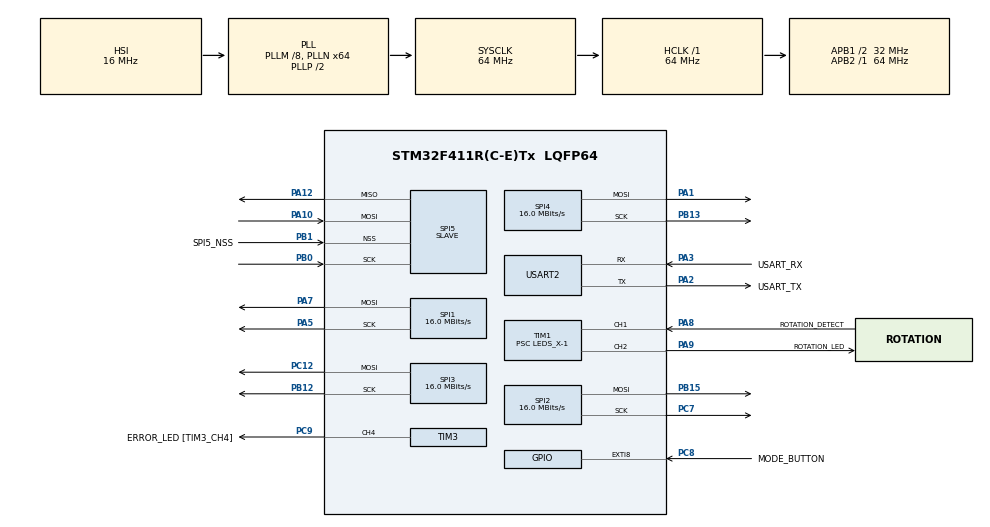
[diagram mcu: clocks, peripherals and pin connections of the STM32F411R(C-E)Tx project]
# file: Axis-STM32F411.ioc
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Dma.Request0=SPI1_TX
Dma.Request1=SPI2_TX
Dma.Request2=SPI3_TX
Dma.Request3=SPI4_TX
Dma.Request4=SPI5_TX
Dma.Request5=SPI5_RX
Dma.Request6=TIM3_CH4/UP
Dma.SPI1_TX.0.Direction=DMA_MEMORY_TO_PERIPH
Dma.SPI1_TX.0.FIFOMode=DMA_FIFOMODE_ENABLE
Dma.SPI1_TX.0.FIFOThreshold=DMA_FIFO_THRESHOLD_FULL
Dma.SPI1_TX.0.Instance=DMA2_Stream2
Dma.SPI1_TX.0.MemBurst=DMA_MBURST_SINGLE
Dma.SPI1_TX.0.MemDataAlignment=DMA_MDATAALIGN_WORD
Dma.SPI1_TX.0.MemInc=DMA_MINC_ENABLE
Dma.SPI1_TX.0.Mode=DMA_NORMAL
Dma.SPI1_TX.0.PeriphBurst=DMA_PBURST_SINGLE
Dma.SPI1_TX.0.PeriphDataAlignment=DMA_PDATAALIGN_BYTE
Dma.SPI1_TX.0.PeriphInc=DMA_PINC_DISABLE
Dma.SPI1_TX.0.Priority=DMA_PRIORITY_VERY_HIGH
Dma.SPI2_TX.1.Direction=DMA_MEMORY_TO_PERIPH
Dma.SPI2_TX.1.FIFOMode=DMA_FIFOMODE_ENABLE
Dma.SPI2_TX.1.FIFOThreshold=DMA_FIFO_THRESHOLD_FULL
Dma.SPI2_TX.1.Instance=DMA1_Stream4
Dma.SPI2_TX.1.MemBurst=DMA_MBURST_SINGLE
Dma.SPI2_TX.1.MemDataAlignment=DMA_MDATAALIGN_WORD
Dma.SPI2_TX.1.MemInc=DMA_MINC_ENABLE
Dma.SPI2_TX.1.Mode=DMA_NORMAL
Dma.SPI2_TX.1.PeriphBurst=DMA_PBURST_SINGLE
Dma.SPI2_TX.1.PeriphDataAlignment=DMA_PDATAALIGN_BYTE
Dma.SPI2_TX.1.PeriphInc=DMA_PINC_DISABLE
Dma.SPI2_TX.1.Priority=DMA_PRIORITY_VERY_HIGH
Dma.SPI3_TX.2.Direction=DMA_MEMORY_TO_PERIPH
Dma.SPI3_TX.2.FIFOMode=DMA_FIFOMODE_ENABLE
Dma.SPI3_TX.2.FIFOThreshold=DMA_FIFO_THRESHOLD_FULL
Dma.SPI3_TX.2.Instance=DMA1_Stream5
Dma.SPI3_TX.2.MemBurst=DMA_MBURST_SINGLE
Dma.SPI3_TX.2.MemDataAlignment=DMA_MDATAALIGN_WORD
Dma.SPI3_TX.2.MemInc=DMA_MINC_ENABLE
Dma.SPI3_TX.2.Mode=DMA_NORMAL
Dma.SPI3_TX.2.PeriphBurst=DMA_PBURST_SINGLE
Dma.SPI3_TX.2.PeriphDataAlignment=DMA_PDATAALIGN_BYTE
Dma.SPI3_TX.2.PeriphInc=DMA_PINC_DISABLE
Dma.SPI3_TX.2.Priority=DMA_PRIORITY_VERY_HIGH
Dma.SPI4_TX.3.Direction=DMA_MEMORY_TO_PERIPH
Dma.SPI4_TX.3.FIFOMode=DMA_FIFOMODE_ENABLE
Dma.SPI4_TX.3.FIFOThreshold=DMA_FIFO_THRESHOLD_FULL
Dma.SPI4_TX.3.Instance=DMA2_Stream1
Dma.SPI4_TX.3.MemBurst=DMA_MBURST_SINGLE
Dma.SPI4_TX.3.MemDataAlignment=DMA_MDATAALIGN_WORD
Dma.SPI4_TX.3.MemInc=DMA_MINC_ENABLE
Dma.SPI4_TX.3.Mode=DMA_NORMAL
Dma.SPI4_TX.3.PeriphBurst=DMA_PBURST_SINGLE
Dma.SPI4_TX.3.PeriphDataAlignment=DMA_PDATAALIGN_BYTE
Dma.SPI4_TX.3.PeriphInc=DMA_PINC_DISABLE
Dma.SPI4_TX.3.Priority=DMA_PRIORITY_VERY_HIGH
Dma.SPI5_RX.5.Direction=DMA_PERIPH_TO_MEMORY
Dma.SPI5_RX.5.FIFOMode=DMA_FIFOMODE_DISABLE
Dma.SPI5_RX.5.Instance=DMA2_Stream3
Dma.SPI5_RX.5.MemDataAlignment=DMA_MDATAALIGN_BYTE
Dma.SPI5_RX.5.MemInc=DMA_MINC_ENABLE
Dma.SPI5_RX.5.Mode=DMA_NORMAL
Dma.SPI5_RX.5.PeriphDataAlignment=DMA_PDATAALIGN_BYTE
Dma.SPI5_RX.5.PeriphInc=DMA_PINC_DISABLE
Dma.SPI5_RX.5.Priority=DMA_PRIORITY_MEDIUM
Dma.SPI5_TX.4.Direction=DMA_MEMORY_TO_PERIPH
Dma.SPI5_TX.4.FIFOMode=DMA_FIFOMODE_DISABLE
Dma.SPI5_TX.4.Instance=DMA2_Stream4
Dma.SPI5_TX.4.MemDataAlignment=DMA_MDATAALIGN_BYTE
Dma.SPI5_TX.4.MemInc=DMA_MINC_ENABLE
Dma.SPI5_TX.4.Mode=DMA_NORMAL
Dma.SPI5_TX.4.PeriphDataAlignment=DMA_PDATAALIGN_BYTE
Dma.SPI5_TX.4.PeriphInc=DMA_PINC_DISABLE
Dma.SPI5_TX.4.Priority=DMA_PRIORITY_MEDIUM
Dma.TIM3_CH4/UP.6.Direction=DMA_MEMORY_TO_PERIPH
Dma.TIM3_CH4/UP.6.FIFOMode=DMA_FIFOMODE_DISABLE
Dma.TIM3_CH4/UP.6.Instance=DMA1_Stream2
Dma.TIM3_CH4/UP.6.MemDataAlignment=DMA_MDATAALIGN_HALFWORD
Dma.TIM3_CH4/UP.6.MemInc=DMA_MINC_ENABLE
Dma.TIM3_CH4/UP.6.Mode=DMA_CIRCULAR
Dma.TIM3_CH4/UP.6.PeriphDataAlignment=DMA_PDATAALIGN_HALFWORD
Dma.TIM3_CH4/UP.6.PeriphInc=DMA_PINC_DISABLE
Dma.TIM3_CH4/UP.6.Priority=DMA_PRIORITY_LOW
Mcu.Family=STM32F4
Mcu.Name=STM32F411R(C-E)Tx
Mcu.Package=LQFP64
Mcu.UserConstants=hLEDS1_TXDMA_STREAM,LL_DMA_STREAM_1;hLEDS4,$$_SPI3_IP_HANDLE_$$;hLEDS3_TXDMA_STREAM,LL_DMA_STREAM_4;hLEDS3,$$_SPI2_IP_HANDLE_$$;hLEDS4_TXDMA_STREAM,LL_DMA_STREAM_5;hLEDS2,$$_SPI1_IP_HANDLE_$$;hLEDS1,$$_SPI4_IP_HANDLE_$$;TIM_ERROR_CHANNEL_LED,TIM_CHANNEL_4;hLEDS4_TXDMA,DMA1;hLEDS2_TXDMA_STREAM,LL_DMA_STREAM_2;hLEDS2_TXDMA,DMA2;TIM_ROTATION_CHANNEL_LED,TIM_CHANNEL_2;hTIM_PIXEL,$$_TIM2_IP_HANDLE_$$;hLEDS3_TXDMA,DMA1;hTIM_ERROR,$$_TIM3_IP_HANDLE_$$;TIM_ROTATION_CHANNEL_DETECT,TIM_CHANNEL_1;hLEDS1_TXDMA,DMA2;hTIM_ROTATION,$$_TIM1_IP_HANDLE_$$;ROTATION_LED_PULSE_MS,5;LEDS_X,400;LEDS_Y,57;SPI5_TXDMA,DMA2;SPI5_RXDMA,DMA2;SPI5_RXDMA_STREAM,LL_DMA_STREAM_3;SPI5_TXDMA_STREAM,LL_DMA_STREAM_4
NVIC.DMA1_Stream2_IRQn=true\:3\:0\:true\:false\:true\:true\:true\:true
NVIC.DMA2_Stream3_IRQn=true\:2\:0\:true\:false\:true\:false\:true\:true
NVIC.DMA2_Stream4_IRQn=true\:2\:0\:true\:false\:true\:false\:true\:true
NVIC.PriorityGroup=NVIC_PRIORITYGROUP_2
NVIC.TIM1_UP_TIM10_IRQn=true\:0\:0\:false\:false\:true\:true\:false\:true
NVIC.TIM2_IRQn=true\:0\:1\:false\:false\:true\:true\:false\:true
PA1.GPIO_Speed=GPIO_SPEED_FREQ_HIGH
PA1.Mode=TX_Only_Simplex_Unidirect_Master
PA1.Signal=SPI4_MOSI
PA10.GPIO_Speed=GPIO_SPEED_FREQ_HIGH
PA10.Mode=Full_Duplex_Slave
PA10.Signal=SPI5_MOSI
PA12.GPIO_Speed=GPIO_SPEED_FREQ_HIGH
PA12.Mode=Full_Duplex_Slave
PA12.Signal=SPI5_MISO
PA13.GPIO_Label=TMS
PA13.Mode=Trace_Asynchronous_SW
PA13.Signal=SYS_JTMS-SWDIO
PA14.GPIO_Label=TCK
PA14.Mode=Trace_Asynchronous_SW
PA14.Signal=SYS_JTCK-SWCLK
PA2.GPIO_Label=USART_TX
PA2.GPIO_Speed=GPIO_SPEED_FREQ_LOW
PA2.Mode=Asynchronous
PA2.Signal=USART2_TX
PA3.GPIO_Label=USART_RX
PA3.GPIO_Speed=GPIO_SPEED_FREQ_LOW
PA3.Mode=Asynchronous
PA3.Signal=USART2_RX
PA5.GPIO_Speed=GPIO_SPEED_FREQ_HIGH
PA5.Mode=TX_Only_Simplex_Unidirect_Master
PA5.Signal=SPI1_SCK
PA7.GPIO_Speed=GPIO_SPEED_FREQ_HIGH
PA7.Mode=TX_Only_Simplex_Unidirect_Master
PA7.Signal=SPI1_MOSI
PA8.GPIO_Label=ROTATION_DETECT
PA8.Signal=S_TIM1_CH1
PA9.GPIO_Label=ROTATION_LED
PA9.GPIO_ModeDefaultPP=GPIO_MODE_AF_OD
PA9.Signal=S_TIM1_CH2
PB0.GPIO_Speed=GPIO_SPEED_FREQ_HIGH
PB0.Mode=Full_Duplex_Slave
PB0.Signal=SPI5_SCK
PB1.GPIO_Label=SPI5_NSS
PB1.GPIO_PuPd=GPIO_PULLUP
PB1.GPIO_Speed=GPIO_SPEED_FREQ_HIGH
PB1.Signal=SharedStack_PB1
PB1.Stacked=true
PB12.GPIO_Speed=GPIO_SPEED_FREQ_HIGH
PB12.Mode=TX_Only_Simplex_Unidirect_Master
PB12.Signal=SPI3_SCK
PB13.GPIO_Speed=GPIO_SPEED_FREQ_HIGH
PB13.Mode=TX_Only_Simplex_Unidirect_Master
PB13.Signal=SPI4_SCK
PB15.GPIO_Speed=GPIO_SPEED_FREQ_HIGH
PB15.Mode=TX_Only_Simplex_Unidirect_Master
PB15.Signal=SPI2_MOSI
PB3.GPIO_Label=SWO
PB3.Mode=Trace_Asynchronous_SW
PB3.Signal=SYS_JTDO-SWO
PC12.GPIO_Speed=GPIO_SPEED_FREQ_HIGH
PC12.Mode=TX_Only_Simplex_Unidirect_Master
PC12.Signal=SPI3_MOSI
PC7.GPIO_Speed=GPIO_SPEED_FREQ_HIGH
PC7.Mode=TX_Only_Simplex_Unidirect_Master
PC7.Signal=SPI2_SCK
PC8.GPIO_Label=MODE_BUTTON
PC8.GPIO_ModeDefaultEXTI=GPIO_MODE_IT_FALLING
PC8.Signal=GPXTI8
PC9.GPIO_Label=ERROR_LED [TIM3_CH4]
PC9.GPIO_ModeDefaultPP=GPIO_MODE_AF_OD
PC9.Signal=S_TIM3_CH4
PH0\ -\ OSC_IN.Signal=RCC_OSC_IN
PH1\ -\ OSC_OUT.Signal=RCC_OSC_OUT
ProjectManager.HeapSize=0x200
ProjectManager.StackSize=0x400
ProjectManager.TargetToolchain=STM32CubeIDE
RCC.48MHZClocksFreq_Value=32000000
RCC.AHBFreq_Value=64000000
RCC.APB1CLKDivider=RCC_HCLK_DIV2
RCC.APB1Freq_Value=32000000
RCC.APB1TimFreq_Value=64000000
RCC.APB2Freq_Value=64000000
RCC.APB2TimFreq_Value=64000000
RCC.CortexFreq_Value=64000000
RCC.FLatency-AdvancedSettings=FLASH_LATENCY_2
RCC.HCLKFreq_Value=64000000
RCC.HSE_VALUE=8000000
RCC.HSI_VALUE=16000000
RCC.LSE_VALUE=32768
RCC.PLLM=8
RCC.PLLN=64
RCC.SYSCLKFreq_VALUE=64000000
RCC.SYSCLKSource=RCC_SYSCLKSOURCE_PLLCLK
RCC.VCOOutputFreq_Value=128000000
SH.S_TIM1_CH1.0=TIM1_CH1,TriggerSource_TI1FP1
SH.S_TIM1_CH1.1=TIM1_CH1,Input_Capture1_from_TI1
SH.S_TIM1_CH2.0=TIM1_CH2,PWM Generation2 CH2
SH.S_TIM3_CH4.0=TIM3_CH4,PWM Generation4 CH4
SH.SharedStack_PB1.0=SPI5_NSS,NSS_Signal_Hard_Input
SH.SharedStack_PB1.1=GPIO_EXTI1+0
SPI1.BaudRatePrescaler=SPI_BAUDRATEPRESCALER_4
SPI1.CLKPhase=SPI_PHASE_2EDGE
SPI1.CLKPolarity=SPI_POLARITY_HIGH
SPI1.CalculateBaudRate=16.0 MBits/s
SPI1.DataSize=SPI_DATASIZE_8BIT
SPI1.Direction=SPI_DIRECTION_2LINES
SPI1.Mode=SPI_MODE_MASTER
SPI1.VirtualType=VM_MASTER
SPI2.BaudRatePrescaler=SPI_BAUDRATEPRESCALER_2
SPI2.CLKPhase=SPI_PHASE_2EDGE
SPI2.CLKPolarity=SPI_POLARITY_HIGH
SPI2.CalculateBaudRate=16.0 MBits/s
SPI2.Direction=SPI_DIRECTION_2LINES
SPI2.Mode=SPI_MODE_MASTER
SPI2.VirtualType=VM_MASTER
SPI3.BaudRatePrescaler=SPI_BAUDRATEPRESCALER_2
SPI3.CLKPhase=SPI_PHASE_2EDGE
SPI3.CLKPolarity=SPI_POLARITY_HIGH
SPI3.CalculateBaudRate=16.0 MBits/s
SPI3.Direction=SPI_DIRECTION_2LINES
SPI3.Mode=SPI_MODE_MASTER
SPI3.VirtualType=VM_MASTER
SPI4.BaudRatePrescaler=SPI_BAUDRATEPRESCALER_4
SPI4.CLKPhase=SPI_PHASE_2EDGE
SPI4.CLKPolarity=SPI_POLARITY_HIGH
SPI4.CalculateBaudRate=16.0 MBits/s
SPI4.DataSize=SPI_DATASIZE_8BIT
SPI4.Direction=SPI_DIRECTION_2LINES
SPI4.Mode=SPI_MODE_MASTER
SPI4.VirtualType=VM_MASTER
SPI5.Direction=SPI_DIRECTION_2LINES
SPI5.Mode=SPI_MODE_SLAVE
SPI5.VirtualNSS=VM_NSSHARD
SPI5.VirtualType=VM_SLAVE
TIM1.Channel-Input_Capture1_from_TI1=TIM_CHANNEL_1
TIM1.Channel-PWM\ Generation2\ CH2=TIM_CHANNEL_2
TIM1.ICFilter_CH1=15
TIM1.OCPolarity_2=TIM_OCPOLARITY_LOW
TIM1.OffStateIDLEMode=TIM_OSSI_ENABLE
TIM1.Prescaler=LEDS_X-1
TIM1.Pulse-PWM\ Generation2\ CH2=10000
TIM1.TIM_MasterOutputTrigger=TIM_TRGO_OC1
TIM2.AutoReloadPreload=TIM_AUTORELOAD_PRELOAD_ENABLE
TIM2.Period=60000*5
TIM3.Channel-PWM\ Generation4\ CH4=TIM_CHANNEL_4
TIM3.OCPolarity_4=TIM_OCPOLARITY_LOW
TIM3.Period=65534
TIM3.Prescaler=244
TIM3.Pulse-PWM\ Generation4\ CH4=32767
USART2.VirtualMode=VM_ASYNC
VP_TIM1_VS_ClockSourceINT.Mode=Internal
VP_TIM1_VS_ControllerModeReset.Mode=Reset Mode
VP_TIM2_VS_ClockSourceINT.Mode=Internal
VP_TIM2_VS_ClockSourceITR.Mode=TriggerSource_ITR0
VP_TIM2_VS_ControllerModeReset.Mode=Reset Mode
VP_TIM3_VS_ClockSourceINT.Mode=Internal
board=NUCLEO-F411RE

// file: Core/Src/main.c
/* USER CODE BEGIN Header */
/**
  ******************************************************************************
  * @file           : main.c
  * @brief          : Main program body
  ******************************************************************************
  * @attention
  *
  * Copyright (c) 2023 STMicroelectronics.
  * All rights reserved.
  *
  * This software is licensed under terms that can be found in the LICENSE file
  * in the root directory of this software component.
  * If no LICENSE file comes with this software, it is provided AS-IS.
  *
  ******************************************************************************
  */
/* USER CODE END Header */
#include "main.h"

/* USER CODE BEGIN Includes */
#include <stdbool.h>
#include "../../../shared/packet.h"
#include "control_if.h"
#include "error_led.h"
#include "leds_driver.h"
#include "leds_color_pattern.h"
#include "leds_image.h"
/* USER CODE END Includes */

/* USER CODE BEGIN PTD */

typedef enum rotation_status_t {
  ROTATION_STATUS_NONE,
  ROTATION_STATUS_SLOW,
  ROTATION_STATUS_NORMAL
} rotation_status_t;

/* USER CODE END PTD */

/* USER CODE BEGIN PD */

#define PROGRAM_DEFAULT AXIS_PROGRAM_IMAGE_RGB565

/* USER CODE END PD */

TIM_HandleTypeDef htim1;
TIM_HandleTypeDef htim2;
TIM_HandleTypeDef htim3;
DMA_HandleTypeDef hdma_tim3_ch4_up;

UART_HandleTypeDef huart2;

/* USER CODE BEGIN PV */

volatile int requested_x;
volatile uint16_t rotation_max_value;
volatile rotation_status_t rotation_status;
axis_program_t current_program;
void (*leds_update)(int x, led_data_buffer_t* buffer) = NULL;

/* USER CODE END PV */

void SystemClock_Config(void);
static void MX_GPIO_Init(void);
static void MX_DMA_Init(void);
static void MX_USART2_UART_Init(void);
static void MX_TIM3_Init(void);
static void MX_SPI1_Init(void);
static void MX_SPI2_Init(void);
static void MX_SPI3_Init(void);
static void MX_SPI4_Init(void);
static void MX_SPI5_Init(void);
static void MX_TIM1_Init(void);
static void MX_TIM2_Init(void);

/* USER CODE BEGIN 0 */

void Pixel_IRQHandler(void) {
  // SPI output
  leds_driver_transmit();

  // Increment current x (LED column) counter
  // NOTE: requested_x is volatile, so ensure there is only a single read & write
  int rx = requested_x + 1;
  if (rx == LEDS_X)
    rx = 0;
  requested_x = rx;

  // TODO: Probably this is not needed as interrupt should ensure WFE is aborted anyways...
  __SEV();
}

void Rotation_Detected_IRQHandler(uint16_t value) {
  // Align value to initial location
  __HAL_TIM_SET_AUTORELOAD(&hTIM_PIXEL, value);
  requested_x = 0;
  // Keep low brightness to make it easier on the eyes
  rotation_status = value < rotation_max_value ? ROTATION_STATUS_NORMAL : ROTATION_STATUS_SLOW;
}

void Rotation_None_IRQHandler(void) {
  // Be dim and slow enough for debugging
  __HAL_TIM_SET_AUTORELOAD(&hTIM_PIXEL, 0x1fffff);
  rotation_status = ROTATION_STATUS_NONE;
}

static void Program_Set_I(enum axis_program_t program, bool safe) {
  switch(program) {
    case AXIS_PROGRAM_HUE: leds_update = &update_leds_hue; break;
    case AXIS_PROGRAM_RGB: leds_update = &update_leds_rgb; break;
    case AXIS_PROGRAM_INTERLACE: leds_update = &update_leds_interlace; break;
    case AXIS_PROGRAM_IMAGE_RGB565: leds_update = &update_leds_image; break;
    default: /* NOTICE: ___ RETURN ___ i.s.o. break SO code below is NOT called! */
      if (safe) Program_Set_I(PROGRAM_DEFAULT, false); else Error_Handler(); return;
  }
  current_program = program;
  control_if_set_program(program);
}

void Program_Set(enum axis_program_t program) {
  Program_Set_I(program, true);
}

static void On_Mode_Button_Pressed(void) {
  switch(current_program) {
    case AXIS_PROGRAM_HUE: Program_Set(AXIS_PROGRAM_RGB);; break;
    case AXIS_PROGRAM_RGB: Program_Set(AXIS_PROGRAM_INTERLACE);; break;
    case AXIS_PROGRAM_INTERLACE: Program_Set(AXIS_PROGRAM_IMAGE_RGB565);; break;
    case AXIS_PROGRAM_IMAGE_RGB565: Program_Set(AXIS_PROGRAM_HUE);; break;
    default: Program_Set(PROGRAM_DEFAULT); break;
  }
}

/* USER CODE END 0 */

int main(void)
{

  /* MCU Configuration--------------------------------------------------------*/

  /* Reset of all peripherals, Initializes the Flash interface and the Systick. */
  HAL_Init();

  /* USER CODE BEGIN Init */
  // OpenOCD debugger configured PLL with HSI and 64 MHz speed.
  // SystemClock_Config then fails, due to PLL enabled already. This disabled PLL and forces HSI.
  __HAL_RCC_SYSCLK_CONFIG(RCC_SYSCLKSOURCE_HSI);
  /* USER CODE END Init */

  /* Configure the system clock */
  SystemClock_Config();

  /* Initialize all configured peripherals */
  MX_GPIO_Init();
  MX_DMA_Init();
  MX_USART2_UART_Init();
  MX_TIM3_Init();
  MX_SPI1_Init();
  MX_SPI2_Init();
  MX_SPI3_Init();
  MX_SPI4_Init();
  MX_SPI5_Init();
  MX_TIM1_Init();
  MX_TIM2_Init();
  /* USER CODE BEGIN 2 */

  // Indicate the device is 'alive'...
  error_led_init();

  Program_Set(PROGRAM_DEFAULT);
  if (leds_update == NULL) {
    Error_Handler();
  }

  control_if_init();
  control_if_set_program(current_program);

  // This assumes all timers run at the HCLK frequency (even on the slower bus).
  {
    uint32_t rotation_ticks_per_sec = SystemCoreClock / (hTIM_ROTATION.Init.Prescaler+1);
    rotation_max_value = rotation_ticks_per_sec / ROTATION_MIN_RPM;

    HAL_TIM_IC_Start(&hTIM_ROTATION, TIM_ROTATION_CHANNEL_DETECT);
    HAL_TIM_PWM_Start(&hTIM_ROTATION, TIM_ROTATION_CHANNEL_LED);
    __HAL_TIM_SET_COMPARE(&hTIM_ROTATION, TIM_ROTATION_CHANNEL_LED,
                          ROTATION_LED_PULSE_MS * rotation_ticks_per_sec / 1000);
    HAL_TIM_Base_Start_IT(&hTIM_ROTATION);
  }

  leds_driver_init();
  update_leds_image_init();

  // Start pixel timer
  HAL_TIM_Base_Start_IT(&hTIM_PIXEL);

  /* USER CODE END 2 */

  /* Infinite loop */
  /* USER CODE BEGIN WHILE */

  int current_x = -1;
  int late = 0;
  while (1) {
    // Check if current line has changed. If so, render new color onto it
    int rx = requested_x;
    if (rx != current_x) {
      // Request pixel update (priority!)

      // Performance measurement, start timing
      uint32_t start_tick = SysTick->VAL;

      current_x = rx;
      leds_update(current_x, leds_driver_get_next_buffer());

      // Performance measurement, end timing
     uint32_t end_tick = SysTick->VAL;

     // Check if we are late, either by interrupt or systick
      if (rx != requested_x) {
        // Definitely late, mark this event!
        late++;
      } else {
        // Calculate using systick counter for 16 rpm
        uint32_t ticks;
        if (start_tick > end_tick) {
          ticks = start_tick - end_tick;
        } else {
          ticks = start_tick - end_tick + SysTick->LOAD;
        }

        if (ticks >= SystemCoreClock / (LEDS_X * 26)) {
          late++;
        }
      }
    }

    // Update brightness of LEDs
    leds_driver_set_brightness(rotation_status == ROTATION_STATUS_NORMAL
                               ? BRIGHTNESS_DEFAULT : BRIGHTNESS_NODETECT);

    // Update error led based on various status
    if (late) {
      error_led_set(AXIS_ERROR_LATE);
    } else {
      if (rotation_status == ROTATION_STATUS_NONE) {
        error_led_set(AXIS_ERROR_NO_ROTATION);
      } else {
        error_led_set(AXIS_ERROR_OK);
      }
    }

    // Check for mode button pressed
    if (EXTI->PR & MODE_BUTTON_Pin) {
      // Mode button event triggered. Write to clear it.
      EXTI->PR = MODE_BUTTON_Pin;

      On_Mode_Button_Pressed();
      late = 0;
    }

    control_if_process();

    __WFE();
    /* USER CODE END WHILE */

  }
}

void SystemClock_Config(void)
{
  RCC_OscInitTypeDef RCC_OscInitStruct = {0};
  RCC_ClkInitTypeDef RCC_ClkInitStruct = {0};

  /** Configure the main internal regulator output voltage
  */
  __HAL_RCC_PWR_CLK_ENABLE();
  __HAL_PWR_VOLTAGESCALING_CONFIG(PWR_REGULATOR_VOLTAGE_SCALE1);

  /** Initializes the RCC Oscillators according to the specified parameters
  * in the RCC_OscInitTypeDef structure.
  */
  RCC_OscInitStruct.OscillatorType = RCC_OSCILLATORTYPE_HSI;
  RCC_OscInitStruct.HSIState = RCC_HSI_ON;
  RCC_OscInitStruct.HSICalibrationValue = RCC_HSICALIBRATION_DEFAULT;
  RCC_OscInitStruct.PLL.PLLState = RCC_PLL_ON;
  RCC_OscInitStruct.PLL.PLLSource = RCC_PLLSOURCE_HSI;
  RCC_OscInitStruct.PLL.PLLM = 8;
  RCC_OscInitStruct.PLL.PLLN = 64;
  RCC_OscInitStruct.PLL.PLLP = RCC_PLLP_DIV2;
  RCC_OscInitStruct.PLL.PLLQ = 4;
  if (HAL_RCC_OscConfig(&RCC_OscInitStruct) != HAL_OK)
  {
    Error_Handler();
  }

  /** Initializes the CPU, AHB and APB buses clocks
  */
  RCC_ClkInitStruct.ClockType = RCC_CLOCKTYPE_HCLK|RCC_CLOCKTYPE_SYSCLK
                              |RCC_CLOCKTYPE_PCLK1|RCC_CLOCKTYPE_PCLK2;
  RCC_ClkInitStruct.SYSCLKSource = RCC_SYSCLKSOURCE_PLLCLK;
  RCC_ClkInitStruct.AHBCLKDivider = RCC_SYSCLK_DIV1;
  RCC_ClkInitStruct.APB1CLKDivider = RCC_HCLK_DIV2;
  RCC_ClkInitStruct.APB2CLKDivider = RCC_HCLK_DIV1;

  if (HAL_RCC_ClockConfig(&RCC_ClkInitStruct, FLASH_LATENCY_2) != HAL_OK)
  {
    Error_Handler();
  }
}

static void MX_SPI1_Init(void)
{

  /* USER CODE BEGIN SPI1_Init 0 */
#if !FOUR_CHANNEL
  if (hLEDS2 == SPI1 || hLEDS4 == SPI1) {
    return;
  }
#endif
  /* USER CODE END SPI1_Init 0 */

  LL_SPI_InitTypeDef SPI_InitStruct = {0};

  LL_GPIO_InitTypeDef GPIO_InitStruct = {0};

  /* Peripheral clock enable */
  LL_APB2_GRP1_EnableClock(LL_APB2_GRP1_PERIPH_SPI1);

  LL_AHB1_GRP1_EnableClock(LL_AHB1_GRP1_PERIPH_GPIOA);
  /**SPI1 GPIO Configuration
  PA5   ------> SPI1_SCK
  PA7   ------> SPI1_MOSI
  */
  GPIO_InitStruct.Pin = LL_GPIO_PIN_5|LL_GPIO_PIN_7;
  GPIO_InitStruct.Mode = LL_GPIO_MODE_ALTERNATE;
  GPIO_InitStruct.Speed = LL_GPIO_SPEED_FREQ_HIGH;
  GPIO_InitStruct.OutputType = LL_GPIO_OUTPUT_PUSHPULL;
  GPIO_InitStruct.Pull = LL_GPIO_PULL_NO;
  GPIO_InitStruct.Alternate = LL_GPIO_AF_5;
  LL_GPIO_Init(GPIOA, &GPIO_InitStruct);

  /* SPI1 DMA Init */

  /* SPI1_TX Init */
  LL_DMA_SetChannelSelection(DMA2, LL_DMA_STREAM_2, LL_DMA_CHANNEL_2);

  LL_DMA_SetDataTransferDirection(DMA2, LL_DMA_STREAM_2, LL_DMA_DIRECTION_MEMORY_TO_PERIPH);

  LL_DMA_SetStreamPriorityLevel(DMA2, LL_DMA_STREAM_2, LL_DMA_PRIORITY_VERYHIGH);

  LL_DMA_SetMode(DMA2, LL_DMA_STREAM_2, LL_DMA_MODE_NORMAL);

  LL_DMA_SetPeriphIncMode(DMA2, LL_DMA_STREAM_2, LL_DMA_PERIPH_NOINCREMENT);

  LL_DMA_SetMemoryIncMode(DMA2, LL_DMA_STREAM_2, LL_DMA_MEMORY_INCREMENT);

  LL_DMA_SetPeriphSize(DMA2, LL_DMA_STREAM_2, LL_DMA_PDATAALIGN_BYTE);

  LL_DMA_SetMemorySize(DMA2, LL_DMA_STREAM_2, LL_DMA_MDATAALIGN_WORD);

  LL_DMA_EnableFifoMode(DMA2, LL_DMA_STREAM_2);

  LL_DMA_SetFIFOThreshold(DMA2, LL_DMA_STREAM_2, LL_DMA_FIFOTHRESHOLD_FULL);

  LL_DMA_SetMemoryBurstxfer(DMA2, LL_DMA_STREAM_2, LL_DMA_MBURST_SINGLE);

  LL_DMA_SetPeriphBurstxfer(DMA2, LL_DMA_STREAM_2, LL_DMA_PBURST_SINGLE);

  /* SPI1 parameter configuration*/
  SPI_InitStruct.TransferDirection = LL_SPI_FULL_DUPLEX;
  SPI_InitStruct.Mode = LL_SPI_MODE_MASTER;
  SPI_InitStruct.DataWidth = LL_SPI_DATAWIDTH_8BIT;
  SPI_InitStruct.ClockPolarity = LL_SPI_POLARITY_HIGH;
  SPI_InitStruct.ClockPhase = LL_SPI_PHASE_2EDGE;
  SPI_InitStruct.NSS = LL_SPI_NSS_SOFT;
  SPI_InitStruct.BaudRate = LL_SPI_BAUDRATEPRESCALER_DIV4;
  SPI_InitStruct.BitOrder = LL_SPI_MSB_FIRST;
  SPI_InitStruct.CRCCalculation = LL_SPI_CRCCALCULATION_DISABLE;
  SPI_InitStruct.CRCPoly = 10;
  LL_SPI_Init(SPI1, &SPI_InitStruct);
  LL_SPI_SetStandard(SPI1, LL_SPI_PROTOCOL_MOTOROLA);

}

static void MX_SPI2_Init(void)
{

  /* USER CODE BEGIN SPI2_Init 0 */
#if !FOUR_CHANNEL
  if (hLEDS2 == SPI2 || hLEDS4 == SPI2) {
    return;
  }
#endif
  /* USER CODE END SPI2_Init 0 */

  LL_SPI_InitTypeDef SPI_InitStruct = {0};

  LL_GPIO_InitTypeDef GPIO_InitStruct = {0};

  /* Peripheral clock enable */
  LL_APB1_GRP1_EnableClock(LL_APB1_GRP1_PERIPH_SPI2);

  LL_AHB1_GRP1_EnableClock(LL_AHB1_GRP1_PERIPH_GPIOB);
  LL_AHB1_GRP1_EnableClock(LL_AHB1_GRP1_PERIPH_GPIOC);
  /**SPI2 GPIO Configuration
  PB15   ------> SPI2_MOSI
  PC7   ------> SPI2_SCK
  */
  GPIO_InitStruct.Pin = LL_GPIO_PIN_15;
  GPIO_InitStruct.Mode = LL_GPIO_MODE_ALTERNATE;
  GPIO_InitStruct.Speed = LL_GPIO_SPEED_FREQ_HIGH;
  GPIO_InitStruct.OutputType = LL_GPIO_OUTPUT_PUSHPULL;
  GPIO_InitStruct.Pull = LL_GPIO_PULL_NO;
  GPIO_InitStruct.Alternate = LL_GPIO_AF_5;
  LL_GPIO_Init(GPIOB, &GPIO_InitStruct);

  GPIO_InitStruct.Pin = LL_GPIO_PIN_7;
  GPIO_InitStruct.Mode = LL_GPIO_MODE_ALTERNATE;
  GPIO_InitStruct.Speed = LL_GPIO_SPEED_FREQ_HIGH;
  GPIO_InitStruct.OutputType = LL_GPIO_OUTPUT_PUSHPULL;
  GPIO_InitStruct.Pull = LL_GPIO_PULL_NO;
  GPIO_InitStruct.Alternate = LL_GPIO_AF_5;
  LL_GPIO_Init(GPIOC, &GPIO_InitStruct);

  /* SPI2 DMA Init */

  /* SPI2_TX Init */
  LL_DMA_SetChannelSelection(DMA1, LL_DMA_STREAM_4, LL_DMA_CHANNEL_0);

  LL_DMA_SetDataTransferDirection(DMA1, LL_DMA_STREAM_4, LL_DMA_DIRECTION_MEMORY_TO_PERIPH);

  LL_DMA_SetStreamPriorityLevel(DMA1, LL_DMA_STREAM_4, LL_DMA_PRIORITY_VERYHIGH);

  LL_DMA_SetMode(DMA1, LL_DMA_STREAM_4, LL_DMA_MODE_NORMAL);

  LL_DMA_SetPeriphIncMode(DMA1, LL_DMA_STREAM_4, LL_DMA_PERIPH_NOINCREMENT);

  LL_DMA_SetMemoryIncMode(DMA1, LL_DMA_STREAM_4, LL_DMA_MEMORY_INCREMENT);

  LL_DMA_SetPeriphSize(DMA1, LL_DMA_STREAM_4, LL_DMA_PDATAALIGN_BYTE);

  LL_DMA_SetMemorySize(DMA1, LL_DMA_STREAM_4, LL_DMA_MDATAALIGN_WORD);

  LL_DMA_EnableFifoMode(DMA1, LL_DMA_STREAM_4);

  LL_DMA_SetFIFOThreshold(DMA1, LL_DMA_STREAM_4, LL_DMA_FIFOTHRESHOLD_FULL);

  LL_DMA_SetMemoryBurstxfer(DMA1, LL_DMA_STREAM_4, LL_DMA_MBURST_SINGLE);

  LL_DMA_SetPeriphBurstxfer(DMA1, LL_DMA_STREAM_4, LL_DMA_PBURST_SINGLE);

  /* SPI2 parameter configuration*/
  SPI_InitStruct.TransferDirection = LL_SPI_FULL_DUPLEX;
  SPI_InitStruct.Mode = LL_SPI_MODE_MASTER;
  SPI_InitStruct.DataWidth = LL_SPI_DATAWIDTH_8BIT;
  SPI_InitStruct.ClockPolarity = LL_SPI_POLARITY_HIGH;
  SPI_InitStruct.ClockPhase = LL_SPI_PHASE_2EDGE;
  SPI_InitStruct.NSS = LL_SPI_NSS_SOFT;
  SPI_InitStruct.BaudRate = LL_SPI_BAUDRATEPRESCALER_DIV2;
  SPI_InitStruct.BitOrder = LL_SPI_MSB_FIRST;
  SPI_InitStruct.CRCCalculation = LL_SPI_CRCCALCULATION_DISABLE;
  SPI_InitStruct.CRCPoly = 10;
  LL_SPI_Init(SPI2, &SPI_InitStruct);
  LL_SPI_SetStandard(SPI2, LL_SPI_PROTOCOL_MOTOROLA);

}

static void MX_SPI3_Init(void)
{

  /* USER CODE BEGIN SPI3_Init 0 */
#if !FOUR_CHANNEL
  if (hLEDS2 == SPI3 || hLEDS4 == SPI3) {
    return;
  }
#endif
  /* USER CODE END SPI3_Init 0 */

  LL_SPI_InitTypeDef SPI_InitStruct = {0};

  LL_GPIO_InitTypeDef GPIO_InitStruct = {0};

  /* Peripheral clock enable */
  LL_APB1_GRP1_EnableClock(LL_APB1_GRP1_PERIPH_SPI3);

  LL_AHB1_GRP1_EnableClock(LL_AHB1_GRP1_PERIPH_GPIOB);
  LL_AHB1_GRP1_EnableClock(LL_AHB1_GRP1_PERIPH_GPIOC);
  /**SPI3 GPIO Configuration
  PB12   ------> SPI3_SCK
  PC12   ------> SPI3_MOSI
  */
  GPIO_InitStruct.Pin = LL_GPIO_PIN_12;
  GPIO_InitStruct.Mode = LL_GPIO_MODE_ALTERNATE;
  GPIO_InitStruct.Speed = LL_GPIO_SPEED_FREQ_HIGH;
  GPIO_InitStruct.OutputType = LL_GPIO_OUTPUT_PUSHPULL;
  GPIO_InitStruct.Pull = LL_GPIO_PULL_NO;
  GPIO_InitStruct.Alternate = LL_GPIO_AF_7;
  LL_GPIO_Init(GPIOB, &GPIO_InitStruct);

  GPIO_InitStruct.Pin = LL_GPIO_PIN_12;
  GPIO_InitStruct.Mode = LL_GPIO_MODE_ALTERNATE;
  GPIO_InitStruct.Speed = LL_GPIO_SPEED_FREQ_HIGH;
  GPIO_InitStruct.OutputType = LL_GPIO_OUTPUT_PUSHPULL;
  GPIO_InitStruct.Pull = LL_GPIO_PULL_NO;
  GPIO_InitStruct.Alternate = LL_GPIO_AF_6;
  LL_GPIO_Init(GPIOC, &GPIO_InitStruct);

  /* SPI3 DMA Init */

  /* SPI3_TX Init */
  LL_DMA_SetChannelSelection(DMA1, LL_DMA_STREAM_5, LL_DMA_CHANNEL_0);

  LL_DMA_SetDataTransferDirection(DMA1, LL_DMA_STREAM_5, LL_DMA_DIRECTION_MEMORY_TO_PERIPH);

  LL_DMA_SetStreamPriorityLevel(DMA1, LL_DMA_STREAM_5, LL_DMA_PRIORITY_VERYHIGH);

  LL_DMA_SetMode(DMA1, LL_DMA_STREAM_5, LL_DMA_MODE_NORMAL);

  LL_DMA_SetPeriphIncMode(DMA1, LL_DMA_STREAM_5, LL_DMA_PERIPH_NOINCREMENT);

  LL_DMA_SetMemoryIncMode(DMA1, LL_DMA_STREAM_5, LL_DMA_MEMORY_INCREMENT);

  LL_DMA_SetPeriphSize(DMA1, LL_DMA_STREAM_5, LL_DMA_PDATAALIGN_BYTE);

  LL_DMA_SetMemorySize(DMA1, LL_DMA_STREAM_5, LL_DMA_MDATAALIGN_WORD);

  LL_DMA_EnableFifoMode(DMA1, LL_DMA_STREAM_5);

  LL_DMA_SetFIFOThreshold(DMA1, LL_DMA_STREAM_5, LL_DMA_FIFOTHRESHOLD_FULL);

  LL_DMA_SetMemoryBurstxfer(DMA1, LL_DMA_STREAM_5, LL_DMA_MBURST_SINGLE);

  LL_DMA_SetPeriphBurstxfer(DMA1, LL_DMA_STREAM_5, LL_DMA_PBURST_SINGLE);

  /* SPI3 parameter configuration*/
  SPI_InitStruct.TransferDirection = LL_SPI_FULL_DUPLEX;
  SPI_InitStruct.Mode = LL_SPI_MODE_MASTER;
  SPI_InitStruct.DataWidth = LL_SPI_DATAWIDTH_8BIT;
  SPI_InitStruct.ClockPolarity = LL_SPI_POLARITY_HIGH;
  SPI_InitStruct.ClockPhase = LL_SPI_PHASE_2EDGE;
  SPI_InitStruct.NSS = LL_SPI_NSS_SOFT;
  SPI_InitStruct.BaudRate = LL_SPI_BAUDRATEPRESCALER_DIV2;
  SPI_InitStruct.BitOrder = LL_SPI_MSB_FIRST;
  SPI_InitStruct.CRCCalculation = LL_SPI_CRCCALCULATION_DISABLE;
  SPI_InitStruct.CRCPoly = 10;
  LL_SPI_Init(SPI3, &SPI_InitStruct);
  LL_SPI_SetStandard(SPI3, LL_SPI_PROTOCOL_MOTOROLA);

}

static void MX_SPI4_Init(void)
{

  /* USER CODE BEGIN SPI4_Init 0 */
#if !FOUR_CHANNEL
  if (hLEDS2 == SPI4 || hLEDS4 == SPI4) {
    return;
  }
#endif
  /* USER CODE END SPI4_Init 0 */

  LL_SPI_InitTypeDef SPI_InitStruct = {0};

  LL_GPIO_InitTypeDef GPIO_InitStruct = {0};

  /* Peripheral clock enable */
  LL_APB2_GRP1_EnableClock(LL_APB2_GRP1_PERIPH_SPI4);

  LL_AHB1_GRP1_EnableClock(LL_AHB1_GRP1_PERIPH_GPIOA);
  LL_AHB1_GRP1_EnableClock(LL_AHB1_GRP1_PERIPH_GPIOB);
  /**SPI4 GPIO Configuration
  PA1   ------> SPI4_MOSI
  PB13   ------> SPI4_SCK
  */
  GPIO_InitStruct.Pin = LL_GPIO_PIN_1;
  GPIO_InitStruct.Mode = LL_GPIO_MODE_ALTERNATE;
  GPIO_InitStruct.Speed = LL_GPIO_SPEED_FREQ_HIGH;
  GPIO_InitStruct.OutputType = LL_GPIO_OUTPUT_PUSHPULL;
  GPIO_InitStruct.Pull = LL_GPIO_PULL_NO;
  GPIO_InitStruct.Alternate = LL_GPIO_AF_5;
  LL_GPIO_Init(GPIOA, &GPIO_InitStruct);

  GPIO_InitStruct.Pin = LL_GPIO_PIN_13;
  GPIO_InitStruct.Mode = LL_GPIO_MODE_ALTERNATE;
  GPIO_InitStruct.Speed = LL_GPIO_SPEED_FREQ_HIGH;
  GPIO_InitStruct.OutputType = LL_GPIO_OUTPUT_PUSHPULL;
  GPIO_InitStruct.Pull = LL_GPIO_PULL_NO;
  GPIO_InitStruct.Alternate = LL_GPIO_AF_6;
  LL_GPIO_Init(GPIOB, &GPIO_InitStruct);

  /* SPI4 DMA Init */

  /* SPI4_TX Init */
  LL_DMA_SetChannelSelection(DMA2, LL_DMA_STREAM_1, LL_DMA_CHANNEL_4);

  LL_DMA_SetDataTransferDirection(DMA2, LL_DMA_STREAM_1, LL_DMA_DIRECTION_MEMORY_TO_PERIPH);

  LL_DMA_SetStreamPriorityLevel(DMA2, LL_DMA_STREAM_1, LL_DMA_PRIORITY_VERYHIGH);

  LL_DMA_SetMode(DMA2, LL_DMA_STREAM_1, LL_DMA_MODE_NORMAL);

  LL_DMA_SetPeriphIncMode(DMA2, LL_DMA_STREAM_1, LL_DMA_PERIPH_NOINCREMENT);

  LL_DMA_SetMemoryIncMode(DMA2, LL_DMA_STREAM_1, LL_DMA_MEMORY_INCREMENT);

  LL_DMA_SetPeriphSize(DMA2, LL_DMA_STREAM_1, LL_DMA_PDATAALIGN_BYTE);

  LL_DMA_SetMemorySize(DMA2, LL_DMA_STREAM_1, LL_DMA_MDATAALIGN_WORD);

  LL_DMA_EnableFifoMode(DMA2, LL_DMA_STREAM_1);

  LL_DMA_SetFIFOThreshold(DMA2, LL_DMA_STREAM_1, LL_DMA_FIFOTHRESHOLD_FULL);

  LL_DMA_SetMemoryBurstxfer(DMA2, LL_DMA_STREAM_1, LL_DMA_MBURST_SINGLE);

  LL_DMA_SetPeriphBurstxfer(DMA2, LL_DMA_STREAM_1, LL_DMA_PBURST_SINGLE);

  /* SPI4 parameter configuration*/
  SPI_InitStruct.TransferDirection = LL_SPI_FULL_DUPLEX;
  SPI_InitStruct.Mode = LL_SPI_MODE_MASTER;
  SPI_InitStruct.DataWidth = LL_SPI_DATAWIDTH_8BIT;
  SPI_InitStruct.ClockPolarity = LL_SPI_POLARITY_HIGH;
  SPI_InitStruct.ClockPhase = LL_SPI_PHASE_2EDGE;
  SPI_InitStruct.NSS = LL_SPI_NSS_SOFT;
  SPI_InitStruct.BaudRate = LL_SPI_BAUDRATEPRESCALER_DIV4;
  SPI_InitStruct.BitOrder = LL_SPI_MSB_FIRST;
  SPI_InitStruct.CRCCalculation = LL_SPI_CRCCALCULATION_DISABLE;
  SPI_InitStruct.CRCPoly = 10;
  LL_SPI_Init(SPI4, &SPI_InitStruct);
  LL_SPI_SetStandard(SPI4, LL_SPI_PROTOCOL_MOTOROLA);

}

static void MX_SPI5_Init(void)
{

  /* USER CODE BEGIN SPI5_Init 0 */
  LL_EXTI_InitTypeDef EXTI_InitStruct = {0};
  /* USER CODE END SPI5_Init 0 */

  LL_SPI_InitTypeDef SPI_InitStruct = {0};

  LL_GPIO_InitTypeDef GPIO_InitStruct = {0};

  /* Peripheral clock enable */
  LL_APB2_GRP1_EnableClock(LL_APB2_GRP1_PERIPH_SPI5);

  LL_AHB1_GRP1_EnableClock(LL_AHB1_GRP1_PERIPH_GPIOB);
  LL_AHB1_GRP1_EnableClock(LL_AHB1_GRP1_PERIPH_GPIOA);
  /**SPI5 GPIO Configuration
  PB0   ------> SPI5_SCK
  PB1   ------> SPI5_NSS
  PA10   ------> SPI5_MOSI
  PA12   ------> SPI5_MISO
  */
  GPIO_InitStruct.Pin = LL_GPIO_PIN_0;
  GPIO_InitStruct.Mode = LL_GPIO_MODE_ALTERNATE;
  GPIO_InitStruct.Speed = LL_GPIO_SPEED_FREQ_HIGH;
  GPIO_InitStruct.OutputType = LL_GPIO_OUTPUT_PUSHPULL;
  GPIO_InitStruct.Pull = LL_GPIO_PULL_NO;
  GPIO_InitStruct.Alternate = LL_GPIO_AF_6;
  LL_GPIO_Init(GPIOB, &GPIO_InitStruct);

  GPIO_InitStruct.Pin = LL_GPIO_PIN_1;
  GPIO_InitStruct.Mode = LL_GPIO_MODE_ALTERNATE;
  GPIO_InitStruct.Speed = LL_GPIO_SPEED_FREQ_HIGH;
  GPIO_InitStruct.OutputType = LL_GPIO_OUTPUT_PUSHPULL;
  GPIO_InitStruct.Pull = LL_GPIO_PULL_UP;
  GPIO_InitStruct.Alternate = LL_GPIO_AF_6;
  LL_GPIO_Init(GPIOB, &GPIO_InitStruct);

  GPIO_InitStruct.Pin = LL_GPIO_PIN_10|LL_GPIO_PIN_12;
  GPIO_InitStruct.Mode = LL_GPIO_MODE_ALTERNATE;
  GPIO_InitStruct.Speed = LL_GPIO_SPEED_FREQ_HIGH;
  GPIO_InitStruct.OutputType = LL_GPIO_OUTPUT_PUSHPULL;
  GPIO_InitStruct.Pull = LL_GPIO_PULL_NO;
  GPIO_InitStruct.Alternate = LL_GPIO_AF_6;
  LL_GPIO_Init(GPIOA, &GPIO_InitStruct);

  /* SPI5 DMA Init */

  /* SPI5_TX Init */
  LL_DMA_SetChannelSelection(DMA2, LL_DMA_STREAM_4, LL_DMA_CHANNEL_2);

  LL_DMA_SetDataTransferDirection(DMA2, LL_DMA_STREAM_4, LL_DMA_DIRECTION_MEMORY_TO_PERIPH);

  LL_DMA_SetStreamPriorityLevel(DMA2, LL_DMA_STREAM_4, LL_DMA_PRIORITY_MEDIUM);

  LL_DMA_SetMode(DMA2, LL_DMA_STREAM_4, LL_DMA_MODE_NORMAL);

  LL_DMA_SetPeriphIncMode(DMA2, LL_DMA_STREAM_4, LL_DMA_PERIPH_NOINCREMENT);

  LL_DMA_SetMemoryIncMode(DMA2, LL_DMA_STREAM_4, LL_DMA_MEMORY_INCREMENT);

  LL_DMA_SetPeriphSize(DMA2, LL_DMA_STREAM_4, LL_DMA_PDATAALIGN_BYTE);

  LL_DMA_SetMemorySize(DMA2, LL_DMA_STREAM_4, LL_DMA_MDATAALIGN_BYTE);

  LL_DMA_DisableFifoMode(DMA2, LL_DMA_STREAM_4);

  /* SPI5_RX Init */
  LL_DMA_SetChannelSelection(DMA2, LL_DMA_STREAM_3, LL_DMA_CHANNEL_2);

  LL_DMA_SetDataTransferDirection(DMA2, LL_DMA_STREAM_3, LL_DMA_DIRECTION_PERIPH_TO_MEMORY);

  LL_DMA_SetStreamPriorityLevel(DMA2, LL_DMA_STREAM_3, LL_DMA_PRIORITY_MEDIUM);

  LL_DMA_SetMode(DMA2, LL_DMA_STREAM_3, LL_DMA_MODE_NORMAL);

  LL_DMA_SetPeriphIncMode(DMA2, LL_DMA_STREAM_3, LL_DMA_PERIPH_NOINCREMENT);

  LL_DMA_SetMemoryIncMode(DMA2, LL_DMA_STREAM_3, LL_DMA_MEMORY_INCREMENT);

  LL_DMA_SetPeriphSize(DMA2, LL_DMA_STREAM_3, LL_DMA_PDATAALIGN_BYTE);

  LL_DMA_SetMemorySize(DMA2, LL_DMA_STREAM_3, LL_DMA_MDATAALIGN_BYTE);

  LL_DMA_DisableFifoMode(DMA2, LL_DMA_STREAM_3);

  /* USER CODE BEGIN SPI5_Init 1 */

  // Assume we can use GPIO_PIN_n instead of LL_EXTI_LINE_n
  _Static_assert(LL_EXTI_LINE_1 == GPIO_PIN_1);
  _Static_assert(LL_EXTI_LINE_15 == GPIO_PIN_15);
  EXTI_InitStruct.Line_0_31 = SPI5_NSS_Pin;
  EXTI_InitStruct.LineCommand = ENABLE;
  EXTI_InitStruct.Mode = LL_EXTI_MODE_IT;
  // Trigger at end of transaction. NSS is active-low.
  EXTI_InitStruct.Trigger = LL_EXTI_TRIGGER_RISING;

  // TODO: Fix this to a function to select the port. But at least warn if its differently
  //       configured for now.
  _Static_assert(SPI5_NSS_GPIO_Port == GPIOB);
  _Static_assert(SPI5_NSS_Pin == GPIO_PIN_1);
  LL_SYSCFG_SetEXTISource(LL_SYSCFG_EXTI_PORTB, LL_SYSCFG_EXTI_LINE1);
  LL_EXTI_Init(&EXTI_InitStruct);

  // This is a quite terrible back to keep reusing code generated by CubeMX...
  (void) SPI_InitStruct;
  void MX_SPI5_SPI_Only_Init(void);
  MX_SPI5_SPI_Only_Init();
}
void MX_SPI5_SPI_Only_Init(void) {
  LL_SPI_InitTypeDef SPI_InitStruct = {0};

  /* USER CODE END SPI5_Init 1 */
  /* SPI5 parameter configuration*/
  SPI_InitStruct.TransferDirection = LL_SPI_FULL_DUPLEX;
  SPI_InitStruct.Mode = LL_SPI_MODE_SLAVE;
  SPI_InitStruct.DataWidth = LL_SPI_DATAWIDTH_8BIT;
  SPI_InitStruct.ClockPolarity = LL_SPI_POLARITY_LOW;
  SPI_InitStruct.ClockPhase = LL_SPI_PHASE_1EDGE;
  SPI_InitStruct.NSS = LL_SPI_NSS_HARD_INPUT;
  SPI_InitStruct.BitOrder = LL_SPI_MSB_FIRST;
  SPI_InitStruct.CRCCalculation = LL_SPI_CRCCALCULATION_DISABLE;
  SPI_InitStruct.CRCPoly = 10;
  LL_SPI_Init(SPI5, &SPI_InitStruct);
  LL_SPI_SetStandard(SPI5, LL_SPI_PROTOCOL_MOTOROLA);

}

static void MX_TIM1_Init(void)
{

  TIM_ClockConfigTypeDef sClockSourceConfig = {0};
  TIM_SlaveConfigTypeDef sSlaveConfig = {0};
  TIM_MasterConfigTypeDef sMasterConfig = {0};
  TIM_IC_InitTypeDef sConfigIC = {0};
  TIM_OC_InitTypeDef sConfigOC = {0};
  TIM_BreakDeadTimeConfigTypeDef sBreakDeadTimeConfig = {0};

  htim1.Instance = TIM1;
  htim1.Init.Prescaler = LEDS_X-1;
  htim1.Init.CounterMode = TIM_COUNTERMODE_UP;
  htim1.Init.Period = 65535;
  htim1.Init.ClockDivision = TIM_CLOCKDIVISION_DIV1;
  htim1.Init.RepetitionCounter = 0;
  htim1.Init.AutoReloadPreload = TIM_AUTORELOAD_PRELOAD_DISABLE;
  if (HAL_TIM_Base_Init(&htim1) != HAL_OK)
  {
    Error_Handler();
  }
  sClockSourceConfig.ClockSource = TIM_CLOCKSOURCE_INTERNAL;
  if (HAL_TIM_ConfigClockSource(&htim1, &sClockSourceConfig) != HAL_OK)
  {
    Error_Handler();
  }
  if (HAL_TIM_IC_Init(&htim1) != HAL_OK)
  {
    Error_Handler();
  }
  if (HAL_TIM_PWM_Init(&htim1) != HAL_OK)
  {
    Error_Handler();
  }
  sSlaveConfig.SlaveMode = TIM_SLAVEMODE_RESET;
  sSlaveConfig.InputTrigger = TIM_TS_TI1FP1;
  sSlaveConfig.TriggerPolarity = TIM_INPUTCHANNELPOLARITY_RISING;
  sSlaveConfig.TriggerFilter = 0;
  if (HAL_TIM_SlaveConfigSynchro(&htim1, &sSlaveConfig) != HAL_OK)
  {
    Error_Handler();
  }
  sMasterConfig.MasterOutputTrigger = TIM_TRGO_OC1;
  sMasterConfig.MasterSlaveMode = TIM_MASTERSLAVEMODE_DISABLE;
  if (HAL_TIMEx_MasterConfigSynchronization(&htim1, &sMasterConfig) != HAL_OK)
  {
    Error_Handler();
  }
  sConfigIC.ICPolarity = TIM_INPUTCHANNELPOLARITY_RISING;
  sConfigIC.ICSelection = TIM_ICSELECTION_DIRECTTI;
  sConfigIC.ICPrescaler = TIM_ICPSC_DIV1;
  sConfigIC.ICFilter = 15;
  if (HAL_TIM_IC_ConfigChannel(&htim1, &sConfigIC, TIM_CHANNEL_1) != HAL_OK)
  {
    Error_Handler();
  }
  sConfigOC.OCMode = TIM_OCMODE_PWM1;
  sConfigOC.Pulse = 10000;
  sConfigOC.OCPolarity = TIM_OCPOLARITY_LOW;
  sConfigOC.OCNPolarity = TIM_OCNPOLARITY_HIGH;
  sConfigOC.OCFastMode = TIM_OCFAST_DISABLE;
  sConfigOC.OCIdleState = TIM_OCIDLESTATE_RESET;
  sConfigOC.OCNIdleState = TIM_OCNIDLESTATE_RESET;
  if (HAL_TIM_PWM_ConfigChannel(&htim1, &sConfigOC, TIM_CHANNEL_2) != HAL_OK)
  {
    Error_Handler();
  }
  sBreakDeadTimeConfig.OffStateRunMode = TIM_OSSR_DISABLE;
  sBreakDeadTimeConfig.OffStateIDLEMode = TIM_OSSI_ENABLE;
  sBreakDeadTimeConfig.LockLevel = TIM_LOCKLEVEL_OFF;
  sBreakDeadTimeConfig.DeadTime = 0;
  sBreakDeadTimeConfig.BreakState = TIM_BREAK_DISABLE;
  sBreakDeadTimeConfig.BreakPolarity = TIM_BREAKPOLARITY_HIGH;
  sBreakDeadTimeConfig.AutomaticOutput = TIM_AUTOMATICOUTPUT_DISABLE;
  if (HAL_TIMEx_ConfigBreakDeadTime(&htim1, &sBreakDeadTimeConfig) != HAL_OK)
  {
    Error_Handler();
  }
  HAL_TIM_MspPostInit(&htim1);

}

static void MX_TIM2_Init(void)
{

  TIM_ClockConfigTypeDef sClockSourceConfig = {0};
  TIM_SlaveConfigTypeDef sSlaveConfig = {0};
  TIM_MasterConfigTypeDef sMasterConfig = {0};

  htim2.Instance = TIM2;
  htim2.Init.Prescaler = 0;
  htim2.Init.CounterMode = TIM_COUNTERMODE_UP;
  htim2.Init.Period = 60000*5;
  htim2.Init.ClockDivision = TIM_CLOCKDIVISION_DIV1;
  htim2.Init.AutoReloadPreload = TIM_AUTORELOAD_PRELOAD_ENABLE;
  if (HAL_TIM_Base_Init(&htim2) != HAL_OK)
  {
    Error_Handler();
  }
  sClockSourceConfig.ClockSource = TIM_CLOCKSOURCE_INTERNAL;
  if (HAL_TIM_ConfigClockSource(&htim2, &sClockSourceConfig) != HAL_OK)
  {
    Error_Handler();
  }
  sSlaveConfig.SlaveMode = TIM_SLAVEMODE_RESET;
  sSlaveConfig.InputTrigger = TIM_TS_ITR0;
  if (HAL_TIM_SlaveConfigSynchro(&htim2, &sSlaveConfig) != HAL_OK)
  {
    Error_Handler();
  }
  sMasterConfig.MasterOutputTrigger = TIM_TRGO_RESET;
  sMasterConfig.MasterSlaveMode = TIM_MASTERSLAVEMODE_DISABLE;
  if (HAL_TIMEx_MasterConfigSynchronization(&htim2, &sMasterConfig) != HAL_OK)
  {
    Error_Handler();
  }

}

static void MX_TIM3_Init(void)
{

  TIM_ClockConfigTypeDef sClockSourceConfig = {0};
  TIM_MasterConfigTypeDef sMasterConfig = {0};
  TIM_OC_InitTypeDef sConfigOC = {0};

  htim3.Instance = TIM3;
  htim3.Init.Prescaler = 244;
  htim3.Init.CounterMode = TIM_COUNTERMODE_UP;
  htim3.Init.Period = 65534;
  htim3.Init.ClockDivision = TIM_CLOCKDIVISION_DIV1;
  htim3.Init.AutoReloadPreload = TIM_AUTORELOAD_PRELOAD_DISABLE;
  if (HAL_TIM_Base_Init(&htim3) != HAL_OK)
  {
    Error_Handler();
  }
  sClockSourceConfig.ClockSource = TIM_CLOCKSOURCE_INTERNAL;
  if (HAL_TIM_ConfigClockSource(&htim3, &sClockSourceConfig) != HAL_OK)
  {
    Error_Handler();
  }
  if (HAL_TIM_PWM_Init(&htim3) != HAL_OK)
  {
    Error_Handler();
  }
  sMasterConfig.MasterOutputTrigger = TIM_TRGO_RESET;
  sMasterConfig.MasterSlaveMode = TIM_MASTERSLAVEMODE_DISABLE;
  if (HAL_TIMEx_MasterConfigSynchronization(&htim3, &sMasterConfig) != HAL_OK)
  {
    Error_Handler();
  }
  sConfigOC.OCMode = TIM_OCMODE_PWM1;
  sConfigOC.Pulse = 32767;
  sConfigOC.OCPolarity = TIM_OCPOLARITY_LOW;
  sConfigOC.OCFastMode = TIM_OCFAST_DISABLE;
  if (HAL_TIM_PWM_ConfigChannel(&htim3, &sConfigOC, TIM_CHANNEL_4) != HAL_OK)
  {
    Error_Handler();
  }
  HAL_TIM_MspPostInit(&htim3);

}

static void MX_USART2_UART_Init(void)
{

  huart2.Instance = USART2;
  huart2.Init.BaudRate = 115200;
  huart2.Init.WordLength = UART_WORDLENGTH_8B;
  huart2.Init.StopBits = UART_STOPBITS_1;
  huart2.Init.Parity = UART_PARITY_NONE;
  huart2.Init.Mode = UART_MODE_TX_RX;
  huart2.Init.HwFlowCtl = UART_HWCONTROL_NONE;
  huart2.Init.OverSampling = UART_OVERSAMPLING_16;
  if (HAL_UART_Init(&huart2) != HAL_OK)
  {
    Error_Handler();
  }

}

static void MX_DMA_Init(void)
{

  /* Init with LL driver */
  /* DMA controller clock enable */
  LL_AHB1_GRP1_EnableClock(LL_AHB1_GRP1_PERIPH_DMA2);
  LL_AHB1_GRP1_EnableClock(LL_AHB1_GRP1_PERIPH_DMA1);

  /* DMA interrupt init */
  /* DMA1_Stream2_IRQn interrupt configuration */
  HAL_NVIC_SetPriority(DMA1_Stream2_IRQn, 3, 0);
  HAL_NVIC_EnableIRQ(DMA1_Stream2_IRQn);
  /* DMA2_Stream3_IRQn interrupt configuration */
  NVIC_SetPriority(DMA2_Stream3_IRQn, NVIC_EncodePriority(NVIC_GetPriorityGrouping(),2, 0));
  NVIC_EnableIRQ(DMA2_Stream3_IRQn);
  /* DMA2_Stream4_IRQn interrupt configuration */
  NVIC_SetPriority(DMA2_Stream4_IRQn, NVIC_EncodePriority(NVIC_GetPriorityGrouping(),2, 0));
  NVIC_EnableIRQ(DMA2_Stream4_IRQn);

}

static void MX_GPIO_Init(void)
{
  GPIO_InitTypeDef GPIO_InitStruct = {0};

  /* GPIO Ports Clock Enable */
  __HAL_RCC_GPIOH_CLK_ENABLE();
  __HAL_RCC_GPIOA_CLK_ENABLE();
  __HAL_RCC_GPIOB_CLK_ENABLE();
  __HAL_RCC_GPIOC_CLK_ENABLE();

  /*Configure GPIO pin : MODE_BUTTON_Pin */
  GPIO_InitStruct.Pin = MODE_BUTTON_Pin;
  GPIO_InitStruct.Mode = GPIO_MODE_IT_FALLING;
  GPIO_InitStruct.Pull = GPIO_NOPULL;
  HAL_GPIO_Init(MODE_BUTTON_GPIO_Port, &GPIO_InitStruct);

}

void Error_Handler(void)
{
  /* USER CODE BEGIN Error_Handler_Debug */
  /* User can add his own implementation to report the HAL error return state */
  __disable_irq();
  error_led_set(AXIS_ERROR_FATAL_ERROR);
  while (1)
  {
  }
  /* USER CODE END Error_Handler_Debug */
}

#ifdef  USE_FULL_ASSERT
/**
  * @brief  Reports the name of the source file and the source line number
  *         where the assert_param error has occurred.
  * @param  file: pointer to the source file name
  * @param  line: assert_param error line source number
  * @retval None
  */
void assert_failed(uint8_t *file, uint32_t line)
{
  /* USER CODE BEGIN 6 */
  (void)file;
  (void)line;
  /* User can add his own implementation to report the file name and line number,
     ex: printf("Wrong parameters value: file %s on line %d\r\n", file, line) */
  Error_Handler();
  /* USER CODE END 6 */
}
#endif /* USE_FULL_ASSERT */
